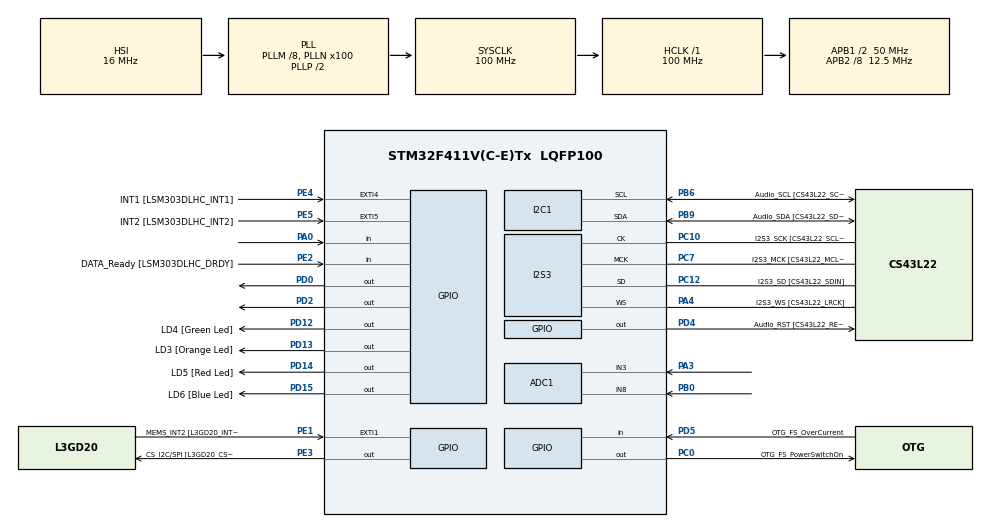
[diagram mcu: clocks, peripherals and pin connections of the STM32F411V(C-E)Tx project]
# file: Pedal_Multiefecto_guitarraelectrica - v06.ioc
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ADC1.Channel-0\#ChannelRegularConversion=ADC_CHANNEL_8
ADC1.Channel-1\#ChannelRegularConversion=ADC_CHANNEL_3
ADC1.ClockPrescaler=ADC_CLOCK_SYNC_PCLK_DIV2
ADC1.ContinuousConvMode=ENABLE
ADC1.DMAContinuousRequests=ENABLE
ADC1.EOCSelection=ADC_EOC_SEQ_CONV
ADC1.InjNumberOfConversion=0
ADC1.NbrOfConversion=2
ADC1.NbrOfConversionFlag=1
ADC1.Rank-0\#ChannelRegularConversion=1
ADC1.Rank-1\#ChannelRegularConversion=2
ADC1.SamplingTime-0\#ChannelRegularConversion=ADC_SAMPLETIME_84CYCLES
ADC1.SamplingTime-1\#ChannelRegularConversion=ADC_SAMPLETIME_84CYCLES
ADC1.ScanConvMode=ENABLE
ADC1.master=1
Dma.ADC1.1.Direction=DMA_PERIPH_TO_MEMORY
Dma.ADC1.1.FIFOMode=DMA_FIFOMODE_DISABLE
Dma.ADC1.1.Instance=DMA2_Stream0
Dma.ADC1.1.MemDataAlignment=DMA_MDATAALIGN_WORD
Dma.ADC1.1.MemInc=DMA_MINC_ENABLE
Dma.ADC1.1.Mode=DMA_CIRCULAR
Dma.ADC1.1.PeriphDataAlignment=DMA_PDATAALIGN_WORD
Dma.ADC1.1.PeriphInc=DMA_PINC_DISABLE
Dma.ADC1.1.Priority=DMA_PRIORITY_LOW
Dma.Request0=SPI3_TX
Dma.Request1=ADC1
Dma.SPI3_TX.0.Direction=DMA_MEMORY_TO_PERIPH
Dma.SPI3_TX.0.FIFOMode=DMA_FIFOMODE_DISABLE
Dma.SPI3_TX.0.Instance=DMA1_Stream5
Dma.SPI3_TX.0.MemDataAlignment=DMA_MDATAALIGN_WORD
Dma.SPI3_TX.0.MemInc=DMA_MINC_ENABLE
Dma.SPI3_TX.0.Mode=DMA_CIRCULAR
Dma.SPI3_TX.0.PeriphDataAlignment=DMA_PDATAALIGN_WORD
Dma.SPI3_TX.0.PeriphInc=DMA_PINC_DISABLE
Dma.SPI3_TX.0.Priority=DMA_PRIORITY_LOW
I2S3.AudioFreq=I2S_AUDIOFREQ_32K
I2S3.DataFormat=I2S_DATAFORMAT_16B_EXTENDED
I2S3.ErrorAudioFreq=1.72 %
I2S3.FullDuplexMode=I2S_FULLDUPLEXMODE_DISABLE
I2S3.Instance=SPI$Index
I2S3.RealAudioFreq=32.552 KHz
I2S3.VirtualMode=I2S_MODE_MASTER
Mcu.Family=STM32F4
Mcu.Name=STM32F411V(C-E)Tx
Mcu.Package=LQFP100
NVIC.DMA1_Stream5_IRQn=true\:0\:0\:false\:false\:true\:false\:true
NVIC.DMA2_Stream0_IRQn=true\:0\:0\:false\:false\:true\:false\:true
NVIC.PriorityGroup=NVIC_PRIORITYGROUP_0
PA0-WKUP.Signal=GPIO_Input
PA10.GPIO_Label=OTG_FS_ID
PA10.Signal=USB_OTG_FS_ID
PA11.GPIO_Label=OTG_FS_DM
PA11.Signal=USB_OTG_FS_DM
PA12.GPIO_Label=OTG_FS_DP
PA12.Signal=USB_OTG_FS_DP
PA13.GPIO_Label=SWDIO
PA13.Mode=Serial_Wire
PA13.Signal=SYS_JTMS-SWDIO
PA14.GPIO_Label=SWCLK
PA14.Mode=Serial_Wire
PA14.Signal=SYS_JTCK-SWCLK
PA3.Signal=ADCx_IN3
PA4.GPIO_Label=I2S3_WS [CS43L22_LRCK]
PA4.GPIO_Mode=GPIO_MODE_AF_PP
PA4.GPIO_PuPd=GPIO_NOPULL
PA4.GPIO_Speed=GPIO_SPEED_FREQ_LOW
PA4.Mode=Half_Duplex_Master
PA4.Signal=I2S3_WS
PA5.GPIO_Label=SPI1_SCK [L3GD20_SC/SPC]
PA5.Signal=SPI1_SCK
PA6.GPIO_Label=SPI1_MISO [L3GD20_AS0/SDO]
PA6.Signal=SPI1_MISO
PA7.GPIO_Label=SPI1_MOSI [L3GD20_SDA/SDI/SDO]
PA7.Signal=SPI1_MOSI
PA9.GPIO_Label=VBUS_FS
PA9.Signal=USB_OTG_FS_VBUS
PB0.Signal=ADCx_IN8
PB10.GPIO_Label=CLK_IN [MP45DT02_CLK]
PB10.Signal=I2S2_CK
PB12.Signal=I2S2_WS
PB3.GPIO_Label=SWO
PB3.Signal=SYS_JTDO-SWO
PB6.GPIO_Label=Audio_SCL [CS43L22_SCL]
PB6.GPIO_Mode=GPIO_MODE_AF_OD
PB6.GPIO_PuPd=GPIO_NOPULL
PB6.GPIO_Speed=GPIO_SPEED_FREQ_LOW
PB6.Mode=I2C
PB6.Signal=I2C1_SCL
PB9.GPIO_Label=Audio_SDA [CS43L22_SDA]
PB9.GPIO_Mode=GPIO_MODE_AF_OD
PB9.GPIO_PuPd=GPIO_NOPULL
PB9.GPIO_Speed=GPIO_SPEED_FREQ_LOW
PB9.Mode=I2C
PB9.Signal=I2C1_SDA
PC0.GPIO_Label=OTG_FS_PowerSwitchOn
PC0.PinState=GPIO_PIN_SET
PC0.Signal=GPIO_Output
PC10.GPIO_Label=I2S3_SCK [CS43L22_SCLK]
PC10.GPIO_Mode=GPIO_MODE_AF_PP
PC10.GPIO_PuPd=GPIO_NOPULL
PC10.GPIO_Speed=GPIO_SPEED_FREQ_LOW
PC10.Mode=Half_Duplex_Master
PC10.Signal=I2S3_CK
PC12.GPIO_Label=I2S3_SD [CS43L22_SDIN]
PC12.GPIO_Mode=GPIO_MODE_AF_PP
PC12.GPIO_PuPd=GPIO_NOPULL
PC12.GPIO_Speed=GPIO_SPEED_FREQ_LOW
PC12.Mode=Half_Duplex_Master
PC12.Signal=I2S3_SD
PC14-OSC32_IN.GPIO_Label=PC14-OSC32_IN
PC14-OSC32_IN.Mode=LSE-External-Oscillator
PC14-OSC32_IN.Signal=RCC_OSC32_IN
PC15-OSC32_OUT.GPIO_Label=PC15-OSC32_OUT
PC15-OSC32_OUT.Mode=LSE-External-Oscillator
PC15-OSC32_OUT.Signal=RCC_OSC32_OUT
PC3.GPIO_Label=PDM_OUT [MP45DT02_DOUT]
PC3.Signal=I2S2_SD
PC7.GPIO_Label=I2S3_MCK [CS43L22_MCLK]
PC7.GPIO_Mode=GPIO_MODE_AF_PP
PC7.GPIO_PuPd=GPIO_NOPULL
PC7.GPIO_Speed=GPIO_SPEED_FREQ_LOW
PC7.Mode=Master_Clock_Activated
PC7.Signal=I2S3_MCK
PD0.Signal=GPIO_Output
PD12.GPIO_Label=LD4 [Green Led]
PD12.GPIO_PuPd=GPIO_NOPULL
PD12.GPIO_Speed=GPIO_SPEED_FREQ_LOW
PD12.Signal=GPIO_Output
PD13.GPIO_Label=LD3 [Orange Led]
PD13.GPIO_PuPd=GPIO_NOPULL
PD13.GPIO_Speed=GPIO_SPEED_FREQ_LOW
PD13.Signal=GPIO_Output
PD14.GPIO_Label=LD5 [Red Led]
PD14.GPIO_PuPd=GPIO_NOPULL
PD14.GPIO_Speed=GPIO_SPEED_FREQ_LOW
PD14.Signal=GPIO_Output
PD15.GPIO_Label=LD6 [Blue Led]
PD15.GPIO_PuPd=GPIO_NOPULL
PD15.GPIO_Speed=GPIO_SPEED_FREQ_LOW
PD15.Signal=GPIO_Output
PD2.Signal=GPIO_Output
PD4.GPIO_Label=Audio_RST [CS43L22_RESET]
PD4.Signal=GPIO_Output
PD5.GPIO_Label=OTG_FS_OverCurrent
PD5.Signal=GPIO_Input
PE1.GPIO_Label=MEMS_INT2 [L3GD20_INT2]
PE1.GPIO_ModeDefaultEXTI=GPIO_MODE_EVT_RISING
PE1.Signal=GPXTI1
PE2.GPIO_Label=DATA_Ready [LSM303DLHC_DRDY]
PE2.Signal=GPIO_Input
PE3.GPIO_Label=CS_I2C/SPI [L3GD20_CS_I2C/SPI]
PE3.Signal=GPIO_Output
PE4.GPIO_Label=INT1 [LSM303DLHC_INT1]
PE4.GPIO_ModeDefaultEXTI=GPIO_MODE_EVT_RISING
PE4.Signal=GPXTI4
PE5.GPIO_Label=INT2 [LSM303DLHC_INT2]
PE5.GPIO_ModeDefaultEXTI=GPIO_MODE_EVT_RISING
PE5.Signal=GPXTI5
PH0\ -\ OSC_IN.GPIO_Label=PH0-OSC_IN
PH0\ -\ OSC_IN.Mode=HSE-External-Clock-Source
PH0\ -\ OSC_IN.Signal=RCC_OSC_IN
PH1\ -\ OSC_OUT.GPIO_Label=PH1-OSC_OUT
PH1\ -\ OSC_OUT.Mode=HSE-External-Clock-Source
PH1\ -\ OSC_OUT.Signal=RCC_OSC_OUT
ProjectManager.HeapSize=0x200
ProjectManager.StackSize=0x400
ProjectManager.TargetToolchain=SW4STM32
RCC.48MHZClocksFreq_Value=25000000
RCC.AHBFreq_Value=100000000
RCC.APB1CLKDivider=RCC_HCLK_DIV2
RCC.APB1Freq_Value=50000000
RCC.APB1TimFreq_Value=100000000
RCC.APB2CLKDivider=RCC_HCLK_DIV8
RCC.APB2Freq_Value=12500000
RCC.APB2TimFreq_Value=25000000
RCC.CortexFreq_Value=100000000
RCC.HCLKFreq_Value=100000000
RCC.HSE_VALUE=8000000
RCC.HSI_VALUE=16000000
RCC.PLLI2SM=8
RCC.PLLI2SN=100
RCC.PLLI2SR=3
RCC.PLLM=8
RCC.PLLN=100
RCC.PLLQ=8
RCC.SYSCLKFreq_VALUE=100000000
RCC.SYSCLKSource=RCC_SYSCLKSOURCE_PLLCLK
RCC.VCOOutputFreq_Value=200000000
SH.ADCx_IN3.0=ADC1_IN3,IN3
SH.ADCx_IN8.0=ADC1_IN8,IN8
board=32F411EDISCOVERY

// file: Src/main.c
/* USER CODE BEGIN Header */
/**
  ******************************************************************************
  * @file           : main.c
  * @brief          : Main program body
  ******************************************************************************
  ** This notice applies to any and all portions of this file
  * that are not between comment pairs USER CODE BEGIN and
  * USER CODE END. Other portions of this file, whether
  * inserted by the user or by software development tools
  * are owned by their respective copyright owners.
  *
  * COPYRIGHT(c) 2019 STMicroelectronics
  *
  * Redistribution and use in source and binary forms, with or without modification,
  * are permitted provided that the following conditions are met:
  *   1. Redistributions of source code must retain the above copyright notice,
  *      this list of conditions and the following disclaimer.
  *   2. Redistributions in binary form must reproduce the above copyright notice,
  *      this list of conditions and the following disclaimer in the documentation
  *      and/or other materials provided with the distribution.
  *   3. Neither the name of STMicroelectronics nor the names of its contributors
  *      may be used to endorse or promote products derived from this software
  *      without specific prior written permission.
  *
  * THIS SOFTWARE IS PROVIDED BY THE COPYRIGHT HOLDERS AND CONTRIBUTORS "AS IS"
  * AND ANY EXPRESS OR IMPLIED WARRANTIES, INCLUDING, BUT NOT LIMITED TO, THE
  * IMPLIED WARRANTIES OF MERCHANTABILITY AND FITNESS FOR A PARTICULAR PURPOSE ARE
  * DISCLAIMED. IN NO EVENT SHALL THE COPYRIGHT HOLDER OR CONTRIBUTORS BE LIABLE
  * FOR ANY DIRECT, INDIRECT, INCIDENTAL, SPECIAL, EXEMPLARY, OR CONSEQUENTIAL
  * DAMAGES (INCLUDING, BUT NOT LIMITED TO, PROCUREMENT OF SUBSTITUTE GOODS OR
  * SERVICES; LOSS OF USE, DATA, OR PROFITS; OR BUSINESS INTERRUPTION) HOWEVER
  * CAUSED AND ON ANY THEORY OF LIABILITY, WHETHER IN CONTRACT, STRICT LIABILITY,
  * OR TORT (INCLUDING NEGLIGENCE OR OTHERWISE) ARISING IN ANY WAY OUT OF THE USE
  * OF THIS SOFTWARE, EVEN IF ADVISED OF THE POSSIBILITY OF SUCH DAMAGE.
  *
  ******************************************************************************
  */
/* USER CODE END Header */

#include "main.h"
#include "adc.h"
#include "dma.h"
#include "i2c.h"
#include "i2s.h"
#include "gpio.h"

/* USER CODE BEGIN Includes */
#include "init.h"
#include "adapt_in.h"
#include "fuzz.h"
#include "wahwah.h"

/* USER CODE END Includes */

/* USER CODE BEGIN PV */
/* Private variables ---------------------------------------------------------*/

extern float * buffer_float;

//extern int16_t tono[BUF_SIZE];
float all_in [(CANT_PASOS) * DMA_HALF_SIZE];
float pote;

E_ESTADOS estado = estado_loopback;

/* USER CODE END PV */

void SystemClock_Config(void);
/* USER CODE BEGIN PFP */
/* Private function prototypes -----------------------------------------------*/

/* USER CODE END PFP */

int main(void)
{

  /* MCU Configuration--------------------------------------------------------*/

  /* Reset of all peripherals, Initializes the Flash interface and the Systick. */
  HAL_Init();

  /* Configure the system clock */
  SystemClock_Config();

  /* Initialize all configured peripherals */
  MX_GPIO_Init();
  MX_DMA_Init();
  MX_ADC1_Init();
  MX_I2S3_Init();
  MX_I2C1_Init();
  /* USER CODE BEGIN 2 */
  init_CS43L22 ();
  init_adc ();

  /* USER CODE END 2 */

  /* Infinite loop */
  /* USER CODE BEGIN WHILE */

  HAL_GPIO_WritePin (GPIOD, GPIO_PIN_15, GPIO_PIN_RESET);	//Para apagar LED AZUL
  HAL_GPIO_WritePin (GPIOD, GPIO_PIN_12, GPIO_PIN_SET);	//Para prender LED VERDE

  wahwah_init ();

  while (1)
  {
    /* USER CODE END WHILE */

    /* USER CODE BEGIN 3 */
		if (transmit_ready == HAL_OK)
		{
			//__disable_irq ();

			static int i;
			static int idx_paso = 0;
			static int idx_paso_prev = 0;
			static int pote = 0;
			//static int pote_prom = 0;
			int pote_prom = pote;
			pote = 0;
			idx_paso_prev = idx_paso + CANT_PASOS - (((pote_prom) * CANT_PASOS) / 4100) - 1;
			idx_paso_prev = idx_paso_prev % CANT_PASOS;

			switch (estado)
			{
				case estado_loopback:
				{
					if (HAL_GPIO_ReadPin (GPIOA, GPIO_PIN_0))
					{
						estado = estado_loopback_pressed;
					}
					break;
				} // case estado_loopback

				case estado_loopback_pressed:
				{
					if (!HAL_GPIO_ReadPin(GPIOA, GPIO_PIN_0))
					{
						HAL_GPIO_WritePin(GPIOD, GPIO_PIN_12, GPIO_PIN_RESET);	//Para apagar LED VERDE
						HAL_GPIO_WritePin(GPIOD, GPIO_PIN_13, GPIO_PIN_SET);	//Para prender LED NARANJA

						estado = estado_eco;
					}
					break;
				} // case estado_loopback_pressed

				case estado_eco:
				{
					for (i = 0; i < BUF_SIZE; i += 2)
					{
						pote += buffer_float [i + 1];
						pote /= 2;

						buffer_float [i] = all_in [idx_paso * BUF_SIZE + i] =
							(buffer_float [i] / 2) + (all_in [idx_paso_prev * BUF_SIZE + i] / 2);
					}

					if (HAL_GPIO_ReadPin (GPIOA, GPIO_PIN_0))
					{
						estado = estado_eco_pressed;
					}
					break;
				} // case estado_eco

				case estado_eco_pressed:
				{
					//arm_copy_q15 ((q15_t*) buffer_in, (q15_t*) buffer_out, BUF_SIZE);

					if (!HAL_GPIO_ReadPin (GPIOA, GPIO_PIN_0))
					{
						HAL_GPIO_WritePin (GPIOD, GPIO_PIN_13, GPIO_PIN_RESET);	//Para apagar LED NARANJA
						HAL_GPIO_WritePin (GPIOD, GPIO_PIN_15, GPIO_PIN_SET);	//Para prender LED AZUL

						estado = estado_fuzz;
					}
					break;
				} // case estado_eco_pressed

				case estado_fuzz:
				{
					for (i = 0; i < BUF_SIZE; i += 2)
					{
						pote += buffer_float [i + 1];
						pote /= 2;

						buffer_float [i] = fuzz (buffer_float [i] / 2, pote_prom);
					}

					if (HAL_GPIO_ReadPin (GPIOA, GPIO_PIN_0))
					{
						estado = estado_fuzz_pressed;
					}
					break;
				} // case estado_fuzz

				case estado_fuzz_pressed:
				{
					if (!HAL_GPIO_ReadPin (GPIOA, GPIO_PIN_0))
					{
						HAL_GPIO_WritePin (GPIOD, GPIO_PIN_15, GPIO_PIN_RESET);	//Para apagar LED AZUL
						HAL_GPIO_WritePin (GPIOD, GPIO_PIN_14, GPIO_PIN_SET);	//Para prender LED ROJO

						estado = estado_wahwah;
					}
					break;
				} // case estado_fuzz_pressed

				case estado_wahwah:
				{/*
					for (i = 0; i < BUF_SIZE / 2; i ++)
					{
						pote += buffer_float [i*2 + 1];
						pote /= 2;

						buffer_float [i] = buffer_float [i * 2];
					}

					wahwah (buffer_float, buffer_float, BUF_SIZE / 2);

					for (i = BUF_SIZE / 2; i > 0; i --)
					{
						buffer_float [i * 2] = buffer_float [i];
					}

					if (HAL_GPIO_ReadPin (GPIOA, GPIO_PIN_0))
					{
						estado = estado_wahwah_pressed;
					}*/
					break;
				} // case estado_wahwah

				case estado_wahwah_pressed:
				{
					if (!HAL_GPIO_ReadPin (GPIOA, GPIO_PIN_0))
					{
						HAL_GPIO_WritePin (GPIOD, GPIO_PIN_14, GPIO_PIN_RESET);	//Para apagar LED ROJO
						HAL_GPIO_WritePin (GPIOD, GPIO_PIN_12, GPIO_PIN_SET);	//Para prender LED VERDE

						estado = estado_loopback;
					}
					break;
				} // case estado_wahwah_pressed
			} // switch (estado)

			idx_paso ++;
			idx_paso = idx_paso % CANT_PASOS;

			transmit_ready = HAL_TIMEOUT;
			//__enable_irq ();
		} // if (transmit_ready == HAL_OK)

  } // while (1)
  /* USER CODE END 3 */
}

void SystemClock_Config(void)
{
  RCC_OscInitTypeDef RCC_OscInitStruct = {0};
  RCC_ClkInitTypeDef RCC_ClkInitStruct = {0};
  RCC_PeriphCLKInitTypeDef PeriphClkInitStruct = {0};

  /** Configure the main internal regulator output voltage
  */
  __HAL_RCC_PWR_CLK_ENABLE();
  __HAL_PWR_VOLTAGESCALING_CONFIG(PWR_REGULATOR_VOLTAGE_SCALE1);
  /** Initializes the CPU, AHB and APB busses clocks
  */
  RCC_OscInitStruct.OscillatorType = RCC_OSCILLATORTYPE_HSI;
  RCC_OscInitStruct.HSIState = RCC_HSI_ON;
  RCC_OscInitStruct.HSICalibrationValue = RCC_HSICALIBRATION_DEFAULT;
  RCC_OscInitStruct.PLL.PLLState = RCC_PLL_ON;
  RCC_OscInitStruct.PLL.PLLSource = RCC_PLLSOURCE_HSI;
  RCC_OscInitStruct.PLL.PLLM = 8;
  RCC_OscInitStruct.PLL.PLLN = 100;
  RCC_OscInitStruct.PLL.PLLP = RCC_PLLP_DIV2;
  RCC_OscInitStruct.PLL.PLLQ = 8;
  if (HAL_RCC_OscConfig(&RCC_OscInitStruct) != HAL_OK)
  {
    Error_Handler();
  }
  /** Initializes the CPU, AHB and APB busses clocks
  */
  RCC_ClkInitStruct.ClockType = RCC_CLOCKTYPE_HCLK|RCC_CLOCKTYPE_SYSCLK
                              |RCC_CLOCKTYPE_PCLK1|RCC_CLOCKTYPE_PCLK2;
  RCC_ClkInitStruct.SYSCLKSource = RCC_SYSCLKSOURCE_PLLCLK;
  RCC_ClkInitStruct.AHBCLKDivider = RCC_SYSCLK_DIV1;
  RCC_ClkInitStruct.APB1CLKDivider = RCC_HCLK_DIV2;
  RCC_ClkInitStruct.APB2CLKDivider = RCC_HCLK_DIV8;

  if (HAL_RCC_ClockConfig(&RCC_ClkInitStruct, FLASH_LATENCY_3) != HAL_OK)
  {
    Error_Handler();
  }
  PeriphClkInitStruct.PeriphClockSelection = RCC_PERIPHCLK_I2S;
  PeriphClkInitStruct.PLLI2S.PLLI2SN = 100;
  PeriphClkInitStruct.PLLI2S.PLLI2SM = 8;
  PeriphClkInitStruct.PLLI2S.PLLI2SR = 3;
  if (HAL_RCCEx_PeriphCLKConfig(&PeriphClkInitStruct) != HAL_OK)
  {
    Error_Handler();
  }
}

void Error_Handler(void)
{
  while(1)
  {
  }
}

/************************ (C) COPYRIGHT STMicroelectronics *****END OF FILE****/
